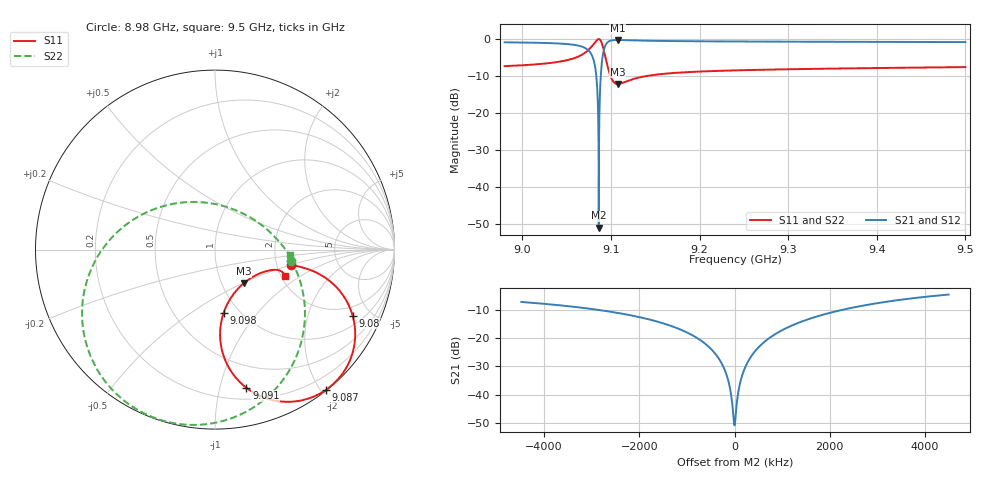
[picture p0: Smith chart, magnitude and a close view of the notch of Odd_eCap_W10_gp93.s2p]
! Sonnet Data File
! From: emgraph Version : 16.52
! From Project: Resonator2_extremeCap2
! Data is De-embedded
! Data File Written: 10/10/2017 13:11:39
!< HDATE 10/10/2017 08:28:44
!< MDATE 10/10/2017 08:28:44
!< PARAMS
!< Pwid1 = 2000.0
!< Pwid2 = 2000.0
!< Air_gap = 6.0
!< Width = 10.0
!< Gap = 93.0
!< END PARAMS
# GHZ S MA R 35.98000
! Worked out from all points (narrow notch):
!   1634 points, 8.98 GHz to 9.5 GHz, reference 35.98 ohm
!   highest |S21| = -0.28 dB at 9.107 GHz (marker M1); lowest = -51.0 dB at 9.086 GHz (marker M2)
!   notch at M2: 50.1 dB deep, 756 kHz wide at half that depth
!   lowest |S11| = -12.2 dB at 9.107 GHz (marker M3), VSWR 1.66, Z = 45.5 - j18.3 ohm
!   |S11| at or under -10 dB: 9.099465 GHz to 9.140039 GHz (40.57 MHz wide, 0.445 % of centre)
!   |S22| runs from -12.2 to 0.0 dB; largest |S21 - S12| = 0
!   S11 on the Smith chart (normalised r, x): 8.98 GHz: 2.39, -0.49; 9.08 GHz: 1.46, -3.88; 9.087 GHz: 0.01, -2.07; 9.091 GHz: 0.30, -1.21; 9.098 GHz: 0.84, -0.69; 9.5 GHz: 2.11, -0.75
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8.98  0.4305 -11.2  0.9026 -99.7  0.9026 -99.7  0.4305 -8.3
!< P1 F=8.98 Eeff=(5.37116343 -2.3769e-5) Z0=(35.9716001 8.05996e-5) R=0.0 C=0.0
!< P2 F=8.98 Eeff=(5.37116343 -2.3769e-5) Z0=(35.9716001 8.05996e-5) R=0.0 C=0.0
9.0395  0.489 -11.4  0.8722 -104.6  0.8722 -104.6  0.4889 -17.8
9.066852  0.6097 -13.6  0.7924 -114.1  0.7924 -114.1  0.6095 -34.7
9.080372  0.8502 -25.6  0.5246 -136.1  0.5246 -136.1  0.8495 -67.0
9.083426  0.9456 -35.0  0.3205 -149.4  0.3205 -149.4  0.9446 -84.5
9.084981  0.9846 -42.1  0.1634 -158.5  0.1634 -158.5  0.9834 -96.7
9.085917  0.9967 -47.2  0.04918 -163.0  0.04918 -163.0  0.9953 -105.2
9.086093  0.9975 -48.3  0.02625 -161.5  0.02625 -161.5  0.9961 -106.9
9.086291  0.9978 -49.5  0.002832 -73.2  0.002832 -73.2  0.9964 -108.8
9.086501  0.9973 -50.7  0.02889 3.5  0.02889 3.5  0.9959 -110.9
9.086635  0.9966 -51.5  0.04726 4.6  0.04726 4.6  0.9951 -112.3
9.087141  0.9906 -54.7  0.1184 2.4  0.1184 2.4  0.9891 -117.5
9.088019  0.9671 -60.4  0.2447 -4.5  0.2447 -4.5  0.9655 -127.1
9.090886  0.7895 -77.2  0.6103 -28.5  0.6103 -28.5  0.7877 -159.2
9.094101  0.5469 -86.3  0.8355 -49.0  0.8355 -49.0  0.5453 168.8
9.098  0.3574 -82.4  0.9331 -63.8  0.9331 -63.8  0.356 135.1
9.1075  0.2467 -49.9  0.9688 -79.2  0.9688 -79.2  0.2461 71.4
9.1535  0.3329 -20.1  0.9429 -92.9  0.9429 -92.9  0.3328 14.2
9.24  0.3771 -17.9  0.9262 -97.3  0.9262 -97.3  0.3771 3.2
9.327  0.395 -18.5  0.9187 -99.4  0.9187 -99.4  0.395 -0.3
9.4135  0.4073 -19.4  0.9133 -101.0  0.9133 -101.0  0.4073 -2.6
9.5  0.4176 -20.5  0.9086 -102.4  0.9086 -102.4  0.4176 -4.4
